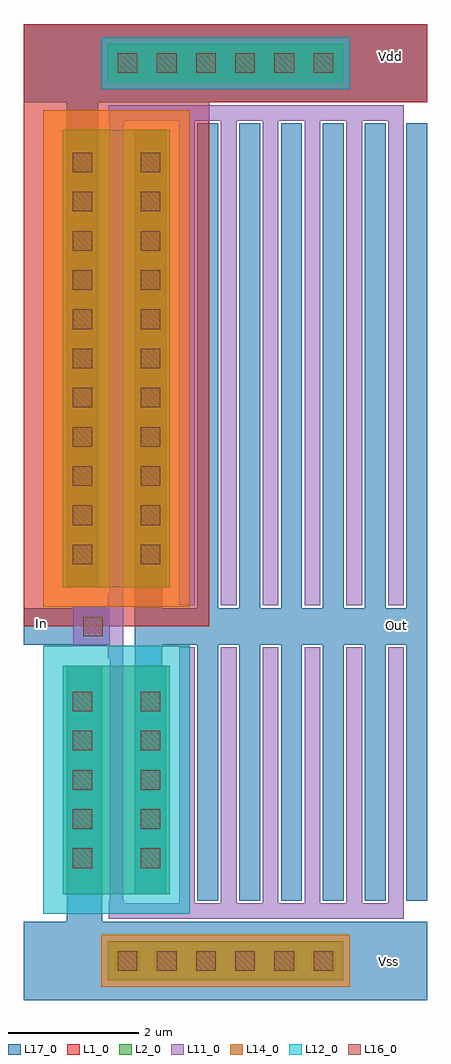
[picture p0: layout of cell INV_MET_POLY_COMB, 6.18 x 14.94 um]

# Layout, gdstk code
from math import pi, radians
import gdstk
lib = gdstk.Library(unit=1e-6, precision=1e-09)
def R(c, l, rs):  # rectangles x0, y0, x1, y1
    for r in rs: c.add(gdstk.rectangle(r[:2], r[2:], *l))
def P(c, l, *ps):  # polygons
    for p in ps: c.add(gdstk.Polygon(p, *l))
L1_0 = (1, 0)
L2_0 = (2, 0)
L11_0 = (11, 0)
L12_0 = (12, 0)
L14_0 = (14, 0)
L16_0 = (16, 0)
L17_0 = (17, 0)

contact_42 = lib.new_cell('CONTACT_42')
R(contact_42, L16_0, [(0,0,0.3,0.3)])

contact_27 = lib.new_cell('CONTACT_27')
R(contact_27, L16_0, [(-0.15,-0.15,0.15,0.15)])

inverseur_simple2 = lib.new_cell('INVERSEUR_SIMPLE2')
R(inverseur_simple2, L1_0, [(0,5.02,2.84,14.24)])
R(inverseur_simple2, L2_0, [(0.6,0.92,2.24,4.42), (0.6,5.62,2.24,12.62)])
P(inverseur_simple2, L11_0, [(1.525,12.92),(1.315,12.92),(1.315,5.52),(1.285,5.52),(1.285,5.32),(0.76,5.32),(0.76,4.72),(1.285,4.72),(1.285,4.52),(1.315,4.52),(1.315,0.62),(1.525,0.62)])
R(inverseur_simple2, L12_0, [(0.3,0.62,2.54,4.72)])
R(inverseur_simple2, L14_0, [(0.3,5.32,2.54,12.92)])
R(inverseur_simple2, L17_0, [(0,4.74,1.32,5.3)])
P(inverseur_simple2, L17_0, [(2.54,0.5),(1.2,0.5),(1.2,4.42),(0.66,4.42),(0.66,0.5),(0,0.5),(0,-0.7),(2.54,-0.7)],
  [(2.54,5.3),(2.12,5.3),(2.12,5.62),(2.18,5.62),(2.18,12.62),(1.7,12.62),(1.7,0.92),(2.18,0.92),(2.18,4.42),(2.12,4.42),(2.12,4.74),(2.54,4.74)],
  [(2.54,14.24),(0,14.24),(0,13.04),(0.66,13.04),(0.66,5.62),(1.14,5.62),(1.14,13.04),(2.54,13.04)])
inverseur_simple2.add(gdstk.Reference(contact_27, (1.06,5.02)))
r = gdstk.Reference(contact_27, (0.9,1.47)); r.repetition = gdstk.Repetition(1, 5, v1=(0.3,0), v2=(0,0.6)); inverseur_simple2.add(r)
r = gdstk.Reference(contact_27, (1.94,6.12), rotation=pi, x_reflection=True); r.repetition = gdstk.Repetition(1, 11, v1=(-0.3,0), v2=(0,0.6)); inverseur_simple2.add(r)
r = gdstk.Reference(contact_27, (1.94,1.47), rotation=pi, x_reflection=True); r.repetition = gdstk.Repetition(1, 5, v1=(-0.3,0), v2=(0,0.6)); inverseur_simple2.add(r)
r = gdstk.Reference(contact_27, (0.9,6.12)); r.repetition = gdstk.Repetition(1, 11, v1=(0.3,0), v2=(0,0.6)); inverseur_simple2.add(r)

inv_met_poly_comb = lib.new_cell('INV_MET_POLY_COMB')
R(inv_met_poly_comb, L1_0, [(2.84,13.74,6.18,14.94)])
R(inv_met_poly_comb, L2_0, [(1.29,0.3,4.89,0.9), (1.29,14.04,4.89,14.64)])
P(inv_met_poly_comb, L11_0, [(5.82,5.4),(5.58,5.4),(5.58,1.48),(5.18,1.48),(5.18,5.4),(4.94,5.4),(4.94,1.48),(4.54,1.48),(4.54,5.4),(4.3,5.4),(4.3,1.48),(3.9,1.48),(3.9,5.4),(3.66,5.4),(3.66,1.48),(3.26,1.48),(3.26,5.4),(3.02,5.4),(3.02,1.48),(2.62,1.48),(2.62,5.4),(2.38,5.4),(2.38,1.48),(1.54,1.48),(1.54,1.52),(1.52,1.52),(1.52,1.48),(1.32,1.48),(1.32,1.52),(1.3,1.52),(1.3,1.24),(5.82,1.24)],
  [(5.82,13.7),(1.3,13.7),(1.3,13.42),(1.32,13.42),(1.32,13.46),(1.52,13.46),(1.52,13.42),(1.54,13.42),(1.54,13.46),(2.38,13.46),(2.38,6.04),(2.62,6.04),(2.62,13.46),(3.02,13.46),(3.02,6.04),(3.26,6.04),(3.26,13.46),(3.66,13.46),(3.66,6.04),(3.9,6.04),(3.9,13.46),(4.3,13.46),(4.3,6.04),(4.54,6.04),(4.54,13.46),(4.94,13.46),(4.94,6.04),(5.18,6.04),(5.18,13.46),(5.58,13.46),(5.58,6.04),(5.82,6.04)])
R(inv_met_poly_comb, L12_0, [(1.19,13.94,4.99,14.74)])
R(inv_met_poly_comb, L14_0, [(1.19,0.2,4.99,1)])
R(inv_met_poly_comb, L17_0, [(0,0,6.18,1.2), (2.54,13.74,6.18,14.94)])
P(inv_met_poly_comb, L17_0, [(6.18,13.42),(5.86,13.42),(5.86,6),(5.54,6),(5.54,13.42),(5.22,13.42),(5.22,6),(4.9,6),(4.9,13.42),(4.58,13.42),(4.58,6),(4.26,6),(4.26,13.42),(3.94,13.42),(3.94,6),(3.62,6),(3.62,13.42),(3.3,13.42),(3.3,6),(2.98,6),(2.98,13.42),(2.66,13.42),(2.66,6),(2.54,6),(2.54,5.44),(2.66,5.44),(2.66,1.52),(2.98,1.52),(2.98,5.44),(3.3,5.44),(3.3,1.52),(3.62,1.52),(3.62,5.44),(3.94,5.44),(3.94,1.52),(4.26,1.52),(4.26,5.44),(4.58,5.44),(4.58,1.52),(4.9,1.52),(4.9,5.44),(5.22,5.44),(5.22,1.52),(5.54,1.52),(5.54,5.44),(5.86,5.44),(5.86,1.52),(6.18,1.52)])
inv_met_poly_comb.add(gdstk.Reference(contact_42, (2.34,0.45), rotation=pi, x_reflection=True))
inv_met_poly_comb.add(gdstk.Reference(contact_42, (2.94,0.45), rotation=pi, x_reflection=True))
inv_met_poly_comb.add(gdstk.Reference(contact_42, (3.24,14.19)))
inv_met_poly_comb.add(gdstk.Reference(contact_42, (3.84,0.75), x_reflection=True))
inv_met_poly_comb.add(gdstk.Reference(contact_42, (1.44,14.19)))
inv_met_poly_comb.add(gdstk.Reference(contact_42, (2.04,14.19)))
inv_met_poly_comb.add(gdstk.Reference(contact_42, (2.04,0.75), x_reflection=True))
inv_met_poly_comb.add(gdstk.Reference(contact_42, (3.84,14.19)))
inv_met_poly_comb.add(gdstk.Reference(contact_42, (4.44,14.19)))
inv_met_poly_comb.add(gdstk.Reference(contact_42, (2.64,0.75), x_reflection=True))
inv_met_poly_comb.add(gdstk.Reference(contact_42, (4.44,0.75), x_reflection=True))
inv_met_poly_comb.add(gdstk.Reference(contact_42, (3.24,0.75), x_reflection=True))
inv_met_poly_comb.add(gdstk.Reference(contact_42, (2.64,14.19)))
inv_met_poly_comb.add(gdstk.Reference(contact_42, (1.74,0.45), rotation=pi, x_reflection=True))
inv_met_poly_comb.add(gdstk.Reference(contact_42, (3.54,0.45), rotation=pi, x_reflection=True))
inv_met_poly_comb.add(gdstk.Reference(contact_42, (4.14,0.45), rotation=pi, x_reflection=True))
inv_met_poly_comb.add(gdstk.Reference(contact_42, (4.74,0.45), rotation=pi, x_reflection=True))
inv_met_poly_comb.add(gdstk.Reference(contact_42, (1.44,0.75), x_reflection=True))
inv_met_poly_comb.add(gdstk.Reference(inverseur_simple2, (0,0.7)))
inv_met_poly_comb.add(gdstk.Label('In', (0.28,5.76), layer=63, texttype=0))
inv_met_poly_comb.add(gdstk.Label('Out', (5.7,5.74), layer=63, texttype=0))
inv_met_poly_comb.add(gdstk.Label('Vss', (5.58,0.59), layer=63, texttype=0))
inv_met_poly_comb.add(gdstk.Label('Vdd', (5.61,14.45), layer=63, texttype=0))

lib.write_gds('INV_MET_POLY_COMB.gds')
